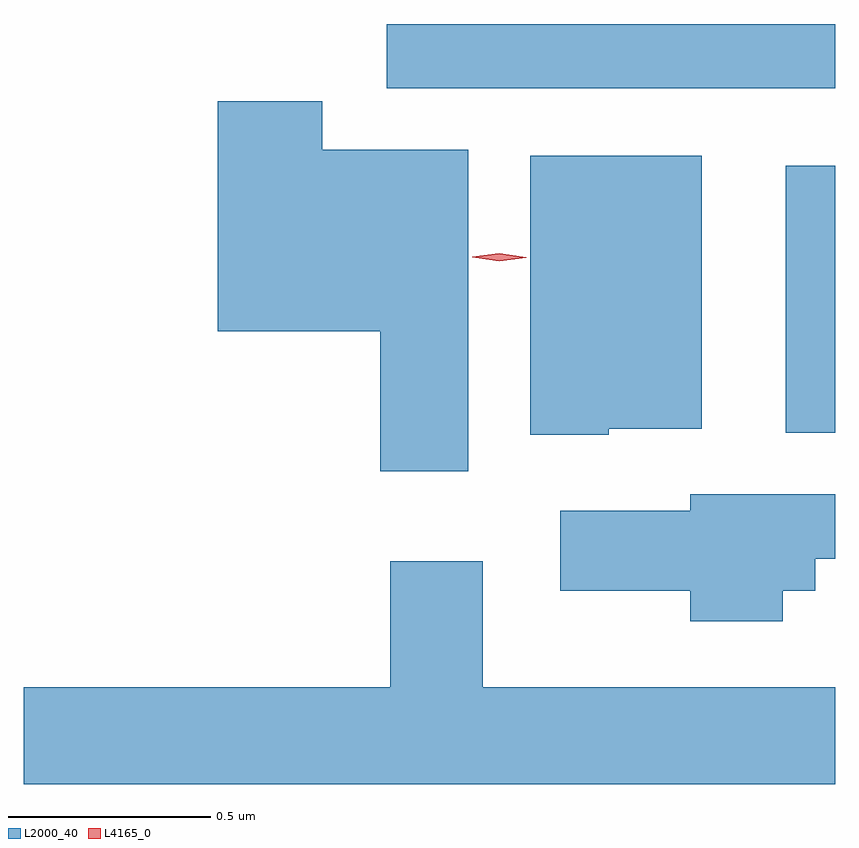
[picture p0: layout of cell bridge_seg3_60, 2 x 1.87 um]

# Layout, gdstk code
import gdstk
lib = gdstk.Library(unit=1e-6, precision=1e-09)
def R(c, l, rs):  # rectangles x0, y0, x1, y1
    for r in rs: c.add(gdstk.rectangle(r[:2], r[2:], *l))
def P(c, l, *ps):  # polygons
    for p in ps: c.add(gdstk.Polygon(p, *l))
L2000_40 = (2000, 40)
L4165_0 = (4165, 0)

bridge_seg3_60 = lib.new_cell('bridge_seg3_60')
R(bridge_seg3_60, L2000_40, [(1197.166,1217.931,1197.288,1218.589), (1196.183,1218.781,1197.288,1218.939)])
P(bridge_seg3_60, L2000_40, [(1196.384,1218.629),(1196.024,1218.629),(1196.024,1218.749),(1195.766,1218.749),(1195.766,1218.181),(1196.166,1218.181),(1196.166,1217.836),(1196.384,1217.836)],
  [(1196.73,1217.941),(1196.959,1217.941),(1196.959,1218.614),(1196.536,1218.614),(1196.536,1217.926),(1196.73,1217.926)],
  [(1197.159,1217.541),(1197.239,1217.541),(1197.239,1217.621),(1197.288,1217.621),(1197.288,1217.779),(1196.931,1217.779),(1196.931,1217.739),(1196.611,1217.739),(1196.611,1217.541),(1196.931,1217.541),(1196.931,1217.466),(1197.159,1217.466)],
  [(1197.288,1217.304),(1196.419,1217.304),(1196.419,1217.614),(1196.191,1217.614),(1196.191,1217.304),(1195.288,1217.304),(1195.288,1217.065),(1197.288,1217.065)])
P(bridge_seg3_60, L4165_0, [(1196.46,1218.354),(1196.394,1218.364),(1196.393,1218.364),(1196.394,1218.365),(1196.46,1218.374),(1196.526,1218.364),(1196.526,1218.364),(1196.526,1218.363)])

lib.write_gds('bridge_seg3_60.gds')
